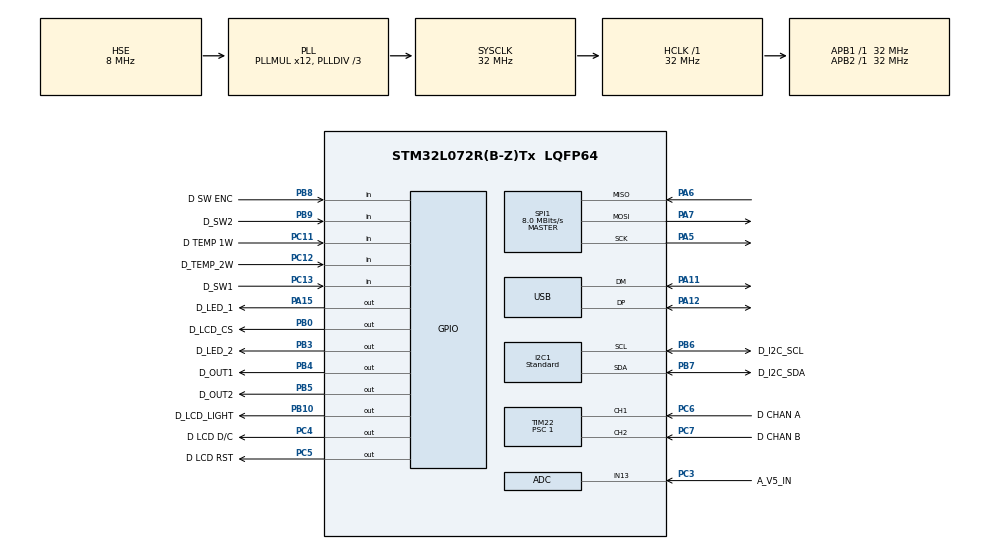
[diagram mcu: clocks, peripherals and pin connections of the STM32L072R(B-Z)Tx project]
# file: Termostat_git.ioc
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ADC.Resolution=ADC_RESOLUTION_8B
ADC.SamplingTime=ADC_SAMPLETIME_1CYCLE_5
I2C1.I2C_Speed_Mode=I2C_Standard
I2C1.Speed=100
I2C1.Timing=0x00707CBB
Mcu.Family=STM32L0
Mcu.Name=STM32L072R(B-Z)Tx
Mcu.Package=LQFP64
NVIC.RTC_IRQn=true\:0\:0\:false\:false\:true\:true
NVIC.TIM21_IRQn=true\:0\:0\:false\:false\:true\:true
NVIC.USB_IRQn=true\:0\:0\:false\:false\:true\:true
PA11.Mode=Device
PA11.Signal=USB_DM
PA12.Mode=Device
PA12.Signal=USB_DP
PA13.Mode=Serial_Wire
PA13.Signal=SYS_SWDIO
PA14.Mode=Serial_Wire
PA14.Signal=SYS_SWCLK
PA15.GPIO_Label=D_LED_1
PA15.Signal=GPIO_Output
PA5.Mode=Full_Duplex_Master
PA5.Signal=SPI1_SCK
PA6.Mode=Full_Duplex_Master
PA6.Signal=SPI1_MISO
PA7.Mode=Full_Duplex_Master
PA7.Signal=SPI1_MOSI
PB0.GPIO_Label=D_LCD_CS
PB0.PinState=GPIO_PIN_SET
PB0.Signal=GPIO_Output
PB10.GPIO_Label=D_LCD_LIGHT
PB10.Signal=GPIO_Output
PB11.GPIO_Label=D SWO
PB11.Signal=EVENTOUT
PB3.GPIO_Label=D_LED_2
PB3.Signal=GPIO_Output
PB4.GPIO_Label=D_OUT1
PB4.Signal=GPIO_Output
PB5.GPIO_Label=D_OUT2
PB5.Signal=GPIO_Output
PB6.GPIO_Label=D_I2C_SCL
PB6.Mode=I2C
PB6.Signal=I2C1_SCL
PB7.GPIO_Label=D_I2C_SDA
PB7.Mode=I2C
PB7.Signal=I2C1_SDA
PB8.GPIO_Label=D SW ENC
PB8.GPIO_PuPd=GPIO_PULLUP
PB8.Signal=GPIO_Input
PB9.GPIO_Label=D_SW2
PB9.GPIO_PuPd=GPIO_PULLUP
PB9.Signal=GPIO_Input
PC11.GPIO_Label=D TEMP 1W
PC11.Signal=GPIO_Input
PC12.GPIO_Label=D_TEMP_2W
PC12.Signal=GPIO_Input
PC13.GPIO_Label=D_SW1
PC13.GPIO_PuPd=GPIO_PULLUP
PC13.Signal=GPIO_Input
PC14-OSC32_IN.Mode=LSE-External-Oscillator
PC14-OSC32_IN.Signal=RCC_OSC32_IN
PC15-OSC32_OUT.Mode=LSE-External-Oscillator
PC15-OSC32_OUT.Signal=RCC_OSC32_OUT
PC3.GPIO_Label=A_V5_IN
PC3.Mode=IN13
PC3.Signal=ADC_IN13
PC4.GPIO_Label=D LCD D/C
PC4.Signal=GPIO_Output
PC5.GPIO_Label=D LCD RST
PC5.Signal=GPIO_Output
PC6.GPIO_Label=D CHAN A
PC6.GPIO_PuPd=GPIO_PULLUP
PC6.Signal=S_TIM22_CH1
PC7.GPIO_Label=D CHAN B
PC7.GPIO_PuPd=GPIO_PULLUP
PC7.Signal=S_TIM22_CH2
PH0-OSC_IN.Mode=HSE-External-Oscillator
PH0-OSC_IN.Signal=RCC_OSC_IN
PH1-OSC_OUT.Mode=HSE-External-Oscillator
PH1-OSC_OUT.Signal=RCC_OSC_OUT
ProjectManager.HeapSize=0x200
ProjectManager.StackSize=0x400
ProjectManager.TargetToolchain=SW4STM32
RCC.AHBFreq_Value=32000000
RCC.APB1Freq_Value=32000000
RCC.APB1TimFreq_Value=32000000
RCC.APB2Freq_Value=32000000
RCC.APB2TimFreq_Value=32000000
RCC.HCLKFreq_Value=32000000
RCC.HSE_VALUE=8000000
RCC.HSI16_VALUE=16000000
RCC.HSI48_VALUE=48000000
RCC.HSI_VALUE=16000000
RCC.MSIClockRange=RCC_MSIRANGE_2
RCC.MSI_VALUE=262144
RCC.PLLDIV=RCC_PLLDIV_3
RCC.PLLMUL=RCC_PLLMUL_12
RCC.RTCClockSelectionVirtual=RCC_RTCCLKSOURCE_LSE
RCC.SYSCLKFreq_VALUE=32000000
RCC.SYSCLKSource=RCC_SYSCLKSOURCE_PLLCLK
RCC.VCOOutputFreq_Value=96000000
RTC.Date=6
RTC.WakeUpCounter-WakeUp=0x2616
RTC.Year=18
SH.S_TIM22_CH1.0=TIM22_CH1,Encoder_Interface
SH.S_TIM22_CH2.0=TIM22_CH2,Encoder_Interface
SPI1.BaudRatePrescaler=SPI_BAUDRATEPRESCALER_4
SPI1.CLKPhase=SPI_PHASE_1EDGE
SPI1.CLKPolarity=SPI_POLARITY_LOW
SPI1.CalculateBaudRate=8.0 MBits/s
SPI1.Direction=SPI_DIRECTION_2LINES
SPI1.Mode=SPI_MODE_MASTER
SPI1.VirtualType=VM_MASTER
TIM21.ClockDivision=TIM_CLOCKDIVISION_DIV1
TIM21.Period=0x0FFFF
TIM21.Prescaler=32
TIM22.CounterMode=TIM_COUNTERMODE_UP
TIM22.EncoderMode=TIM_ENCODERMODE_TI1
TIM22.IC1Polarity=TIM_ICPOLARITY_FALLING
TIM22.IC1Prescaler=TIM_ICPSC_DIV2
TIM22.IC2Polarity=TIM_ICPOLARITY_RISING
TIM22.IC2Prescaler=TIM_ICPSC_DIV2
TIM22.Period=0xFF
TIM22.Prescaler=1
USB_DEVICE.CLASS_NAME_FS=CDC
USB_DEVICE.USBD_HandleTypeDef=hUsbDeviceFS
USB_DEVICE.VirtualMode=Cdc
USB_DEVICE.VirtualModeFS=Cdc_FS
VP_RTC_VS_RTC_Activate.Mode=RTC_Enabled
VP_RTC_VS_RTC_Calendar.Mode=RTC_Calendar
VP_RTC_VS_RTC_WakeUp_intern.Mode=WakeUp
VP_TIM21_VS_ClockSourceINT.Mode=Internal
VP_USB_DEVICE_VS_USB_DEVICE_CDC_FS.Mode=CDC_FS
board=Termostat_git

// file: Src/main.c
/**
 ******************************************************************************
 * File Name          : main.c
 * Description        : Main program body
 ******************************************************************************
 * This notice applies to any and all portions of this file
 * that are not between comment pairs USER CODE BEGIN and
 * USER CODE END. Other portions of this file, whether
 * inserted by the user or by software development tools
 * are owned by their respective copyright owners.
 *
 * Copyright (c) 2018 STMicroelectronics International N.V.
 * All rights reserved.
 *
 * Redistribution and use in source and binary forms, with or without
 * modification, are permitted, provided that the following conditions are met:
 *
 * 1. Redistribution of source code must retain the above copyright notice,
 *    this list of conditions and the following disclaimer.
 * 2. Redistributions in binary form must reproduce the above copyright notice,
 *    this list of conditions and the following disclaimer in the documentation
 *    and/or other materials provided with the distribution.
 * 3. Neither the name of STMicroelectronics nor the names of other
 *    contributors to this software may be used to endorse or promote products
 *    derived from this software without specific written permission.
 * 4. This software, including modifications and/or derivative works of this
 *    software, must execute solely and exclusively on microcontroller or
 *    microprocessor devices manufactured by or for STMicroelectronics.
 * 5. Redistribution and use of this software other than as permitted under
 *    this license is void and will automatically terminate your rights under
 *    this license.
 *
 * THIS SOFTWARE IS PROVIDED BY STMICROELECTRONICS AND CONTRIBUTORS "AS IS"
 * AND ANY EXPRESS, IMPLIED OR STATUTORY WARRANTIES, INCLUDING, BUT NOT
 * LIMITED TO, THE IMPLIED WARRANTIES OF MERCHANTABILITY, FITNESS FOR A
 * PARTICULAR PURPOSE AND NON-INFRINGEMENT OF THIRD PARTY INTELLECTUAL PROPERTY
 * RIGHTS ARE DISCLAIMED TO THE FULLEST EXTENT PERMITTED BY LAW. IN NO EVENT
 * SHALL STMICROELECTRONICS OR CONTRIBUTORS BE LIABLE FOR ANY DIRECT, INDIRECT,
 * INCIDENTAL, SPECIAL, EXEMPLARY, OR CONSEQUENTIAL DAMAGES (INCLUDING, BUT NOT
 * LIMITED TO, PROCUREMENT OF SUBSTITUTE GOODS OR SERVICES; LOSS OF USE, DATA,
 * OR PROFITS; OR BUSINESS INTERRUPTION) HOWEVER CAUSED AND ON ANY THEORY OF
 * LIABILITY, WHETHER IN CONTRACT, STRICT LIABILITY, OR TORT (INCLUDING
 * NEGLIGENCE OR OTHERWISE) ARISING IN ANY WAY OUT OF THE USE OF THIS SOFTWARE,
 * EVEN IF ADVISED OF THE POSSIBILITY OF SUCH DAMAGE.
 *
 ******************************************************************************
 */
/**
 * Upravena verze pro termostat a logovani USB
 * date : 28.9.2020
 * Testovani v provozu - 28.9.2020
 */

/* Includes ------------------------------------------------------------------ */

#include "main.h"
#include "stm32l0xx_hal.h"
#include "adc.h"
#include "i2c.h"
#include "rtc.h"
#include "spi.h"
#include "tim.h"
#include "usb_device.h"
#include "gpio.h"

/* USER CODE BEGIN Includes */

/**popis
 * 28.9.2020 - testovani Logovani
 *
 * Ukoly:
 * pridej MENU, s nastavenim casu a teplot. funkcni
 * nastveni - 115200-8-N-1, /dev/ttyACM0 // pouzivam "cutecom"
 */
#include "global.h"
#include "pinmap.h"
#include "peripherals.h"
#include "BME280.h"
#include "lcd_12864.h"
#include "ds18b20.h"
#include <stdio.h>
#include "usbd_cdc_if.h"
#include "rtc_api.h"
#include "Time.h"
#include "menu.h"
#include "log.h"
#include "sleep.h"
#include "waiter.h"
#include "heater.h"
#include "usb_api.h"

/* USER CODE END Includes */

/* USER CODE BEGIN PV */
/* Private variables ---------------------------------------------------------*/
static States_loop current_state;
static Screen show;
Flags_main flags;
uint32_t citac=0;
int8_t en_count=0;
int32_t temperature=-20000;
int32_t humid = -5;
uint32_t presure = 0;

// Temp_seting and driving
int32_t temperature_set=2000;
// END Temp_seting and driving

Buttons pushed_button; //cleared each main cycle

/* USER CODE END PV */

void SystemClock_Config(void);

/* USER CODE BEGIN PFP */
/* Private function prototypes -----------------------------------------------*/

/* USER CODE END PFP */

int main(void)
{

	/* MCU Configuration----------------------------------------------------------*/

	/* Reset of all peripherals, Initializes the Flash interface and the Systick. */
	HAL_Init();

	/* USER CODE BEGIN Init */
	char buffer_s [32];
//char buffer_usb [32];

	uint16_t T_led=20;
	actual_HALtick.tick=0, past_HALtick.tick=0 ;
	uint32_t InputVoltage=0;
	uint8_t en_count_last=0;
	int16_t count1;
	uint16_t sirka=0;
	char aShowTime[50] = {0};

	//debug
	Bool beta_part=0, show_time=TRUE;
	//debug

	//timeouts
	Compare_t backlite_compare, measure_compare, led_compare, time_compare, button_compare, heating_compare, logging_compare, show_timeout, heating_instant_timeout;
	backlite_compare.overflow=FALSE , measure_compare.overflow=FALSE, led_compare.overflow=FALSE, time_compare.overflow=FALSE, button_compare.overflow=FALSE, heating_compare.overflow=FALSE, logging_compare.overflow=FALSE, show_timeout.overflow=FALSE, heating_instant_timeout.overflow=FALSE;
	actual_HALtick.overflow = FALSE;
	past_HALtick.overflow = FALSE;
	/* USER CODE BEGIN Init */

	/* USER CODE END Init */

	/* Configure the system clock */
	SystemClock_Config();

	/* Initialize all configured peripherals */
	MX_GPIO_Init();
	MX_SPI1_Init();
	MX_TIM22_Init();
	MX_TIM21_Init();
	MX_I2C1_Init();
	MX_USB_DEVICE_Init();
	MX_RTC_Init();
	MX_ADC_Init();

	/* USER CODE BEGIN 2 */
	backliteOn();
	fill_comparer(BACKLITE_TIMEOUT, &backlite_compare);

	lcd12864_init(&hspi1);
	line(0,60,110,60,1);
	lcd_setCharPos(0,0);
	lcd_printString("Initialization unit\r");
	lcd_printString("termostat_git\r");
	snprintf(buffer_s, 11, "SW v 0.%d", SW_VERSION);
	lcd_printString(buffer_s);

	HAL_TIM_Encoder_Start(&htim22,TIM_CHANNEL_1);

	htim22.Instance->EGR = 1;           // Generate an update event
	htim22.Instance->CR1 = 1;           // Enable the counter

	BME280_init(&hi2c1,DEFAULT_SLAVE_ADDRESS); // initialization of temp/humid sensor BOSH

	HAL_Delay(1700);
	lcd_clear();

	//settings variables to default values
	flags.heating_up = FALSE;

	current_state = MEASURING;
	show=desktop;
	flags.log_enable = TRUE; // logging of the actions

hrej();
	//init timers
	fill_comparer(LED_PERIODE,&led_compare);
	fill_comparer(MEASURE_PERIODE,&measure_compare);
	fill_comparer(TIME_PERIODE,&time_compare);
	fill_comparer(BUT_DELAY, &button_compare);
	fill_comparer(10, &heating_compare); // check it immediately
	fill_comparer_seconds(30, &logging_compare); // chci zapisovat hned po zmereni hodnot / ZAPNUTI
	show_timeout.tick = 0xfffffffe;
	heating_instant_timeout.tick = 0;

	/*##- 4- Start the conversion process #######################################*/
	if (HAL_ADC_Start(&hadc) != HAL_OK)
	{
		/* Start Conversation Error */
		Error_Handler();
	}

	/* USER CODE END 2 */

	/* Infinite loop */
	/* USER CODE BEGIN WHILE */
	for (;;)
	{
		switch (current_state){
		case SLEEP:
		{//			neni potreba spanku
			Go_To_Sleep(&hrtc);
			current_state = MEASURING;
			show_time=TRUE;
			break;
		}
		case IDLE:
		{
			break;
		}
		case MEASURING:
		{

			temperature=BME280_getTemperature();
			humid=BME280_getHumidity();
		//	presure=BME280_getPressure();
			current_state = IDLE;
#ifdef DEBUG_TERMOSTAT	//debug
			current_state = VOLTAGE;
#endif
			flags.new_data_to_show=TRUE;

			fill_comparer(MEASURE_PERIODE, &measure_compare);
			break;
		}
		case VOLTAGE:

		{

			/*##- 5- Wait for the end of conversion #####################################*/
			/*  Before starting a new conversion, you need to check the current state of
  			         the peripheral; if it�s busy you need to wait for the end of current
  			         conversion before starting a new one.
  			         For simplicity reasons, this example is just waiting till the end of the
  			         conversion, but application may perform other tasks while conversion
  			         operation is ongoing. */
			HAL_ADC_PollForConversion(&hadc, 10);

			/* Check if the continous conversion of regular channel is finished */
			if ((HAL_ADC_GetState(&hadc) & HAL_ADC_STATE_REG_EOC) == HAL_ADC_STATE_REG_EOC)
			{
				/*##-6- Get the converted value of regular channel  ########################*/
				InputVoltage = HAL_ADC_GetValue(&hadc);
			}

			flags.new_data_to_show=TRUE;
			current_state = IDLE;

			break;
		}
		/* there is a process, of heating with the heater.
		 *The heater is turned on by OUT1, when the temperature is below temperature_set-Hysteresis
		 */
		case HEATING:
		{
			if (flags.heating_instant){
				//if(heating_instant_timeout.tick > actual_HALtick)
					if(!comparer_timeout(&heating_instant_timeout))
					turnOnHeater(temperature);
				else
					flags.heating_instant=FALSE;
			}
			else{
				if (flags.regulation_temp & (temperature < temperature_set))
				{
					if (flags.heating_up) // if the heater is turned on, keep continue with heating.
					{
						turnOnHeater(temperature);
					}
					else
					{	// when the heater is not active, wait until the temperature fall below threshold-Hysteresis
						if (temperature < (temperature_set-HEATING_HYSTERESIS))
						{
							flags.heating_up = TRUE;
							turnOnHeater(temperature);
						}
					}
				}// end-if (flags.regulation_temp&(temperature < temperature_set))

				else // vypni topeni
				{

					turnOffHeater();
					flags.heating_up = FALSE;

				}
			}
			fill_comparer(HEATING_PERIODE, &heating_compare);
			current_state = IDLE;
			break;
		}

		case LOG:
		{
			if (flags.log_enable)
			{
				Log_Temperature(&hrtc, temperature, humid);

			}
			fill_comparer_seconds(LOG_PERIODE, &logging_compare);
			sirka = Log_memory_fullness()*lcd_width/LOG_DATA_LENGTH;
			current_state = IDLE;
			break;
		}
		default:
		{
			break;
		}

		}// end of switch CURRENT STATE

		/* **** SCREEN **** */
		switch (show){

		case blind:
		{
			lcd_clear();
			show = idle;
			break;
		}
		case desktop:
		{// showing main screen - temperatures and Hum
			if (flags.new_data_to_show==TRUE){
				// BME280 sensor
				lcd_setCharPos(1,3);
				char_magnitude(2);
				snprintf(buffer_s, 12, "%3ld.%02d C",temperature/100,abs(temperature%100));
				lcd_printString(buffer_s);

				lcd_setCharPos(4,3);
				snprintf(buffer_s, 14, "%3ld.%02ld %%",(humid / 1024), humid%1024*100/1024);
				lcd_printString(buffer_s);

				// Marking - heating is active/not active
				lcd_setCharPos(1,19);
				if(!flags.regulation_temp)
					lcd_printString("-");
				else _putc(0x07f);

				lcd_setCharPos(4,19);
				if(!flags.heating_instant)
					lcd_printString(" ");
				else _putc(0x07f);

				// END Marking - heating is active/not active

				char_magnitude(1);

				lcd_setCharPos(3,2);
				snprintf(buffer_s, 12, "set %3ld.%02d C",temperature_set/100,abs(temperature_set%100));
				lcd_printString(buffer_s);

				/*	lcd_setCharPos(6,4);
  					snprintf(buffer_s, 18, "Pres %d.%02d hp",presure/100,presure%100);
  					lcd_printString(buffer_s);
				 */

#ifdef DEBUG_TERMOSTAT	//debug
				lcd_setCharPos(6,0);
				snprintf(buffer_s, 13, "%lu-> %lu.%02luV",InputVoltage,InputVoltage*66/2550,(InputVoltage*66%2550*100/255)/10 );// get two numbers for voltage
				lcd_printString(buffer_s);
#endif
				flags.new_data_to_show=FALSE; // the data was showed.

/* Ukazka plnosti pameti na logovani */
				// cara bude na spodni strane a bude tri tecky siroka
				{
					line(0,62,sirka,62,1);
	/*				line(0,63,sirka,63,1);
					line(0,64,sirka,64,1);
*/
				}

			}// end if - new data to show
			if (show_time){

				RTC_DateShow(&hrtc,aShowTime);
				lcd_setCharPos(0,11);
				lcd_printString(aShowTime);
				RTC_TimeShow(&hrtc,aShowTime);
				//lcd_setCharPos(0,12);
				lcd_setCharPos(0,1);
				lcd_printString(aShowTime);

#ifdef DEBUG_TERMOSTAT	//debug
				lcd_setCharPos(3,20);
				if (beta_part){
					lcd_printString("T");
					beta_part = FALSE;
				}
				else {
					lcd_printString("-");
					beta_part = TRUE;
				}

		/*		lcd_setCharPos(7,9);
				snprintf(buffer_s, 13, "sys%8ld;",actual_HALtick.tick);
				lcd_printString(buffer_s);

				lcd_setCharPos(6,12);
				snprintf(buffer_s, 10, "%8ld;",backlite_compare.tick);
				lcd_printString(buffer_s);
		 */
				//debug
#endif
				// end of the time part - new timer set.
				fill_comparer(TIME_PERIODE, &time_compare);
				show_time = FALSE;
			}
			break;
		}
		case idle:
		{
			break;
		}

		case menu:
		{
			display_menu(ActualMenu);
			break;
		}

		case debug:
		{
			lcd_clear();
			RTC_DateShow(&hrtc,aShowTime);
			lcd_setCharPos(1,10);
			lcd_printString(aShowTime);

			RTC_TimeShow(&hrtc,aShowTime);
			lcd_setCharPos(1,0);
			lcd_printString(aShowTime);

			//CITAC
			uint32_t sekundy = (SlaveCounter << 16)/1000000;

			lcd_setCharPos(4,1);
			snprintf(buffer_s, 20, "%03lu:%02lu", sekundy/60,sekundy%60 );
			lcd_printString(buffer_s);

			// reading the actual number from encoder

			count1=htim22.Instance->CNT;
			lcd_setCharPos(5,0);
			snprintf(buffer_s, 25, "s %i \r t %i ms", (count1+T_led)*MAIN_LOOP*2, MAIN_LOOP*2*T_led);
			lcd_printString(buffer_s);

			lcd_setCharPos(7,0);
			snprintf(buffer_s, 9, "EN%03i", (count1));
			lcd_printString(buffer_s);

			snprintf(buffer_s, 12, "; enc%03i", (en_count));
			lcd_printString(buffer_s);

			HAL_Delay(500);
			break;
		}
		default:{
			lcd_setCharPos(1,1);
			lcd_printString("ERROR display -default" );
		}
		}// switch show
		/**
		 * 2.1.2018 -
  	1) objevil jsem chybu pri cteni time elapsing. Mam to spatne. Muze se stat, ze mi timer bude blbe fungovat, kdyz budu pricitat testne pred pretecenim promene a vykonavani se bude konat mozna az po preteceni timeru...

  	2) Cteni tlacitek by se melo provadet pokazde a po stisknuti by se melo dalsi cteni oddalit na delsi cas - 200-300 ms?
		 *
		 */

		/* *------ TIME ELAPSING CHECK -------* */
		get_actual_HAL_tick(); // put the actual number of ms counter to variable actual_HALtic.tick

		if(comparer_timeout(&logging_compare)) //log data after defined period.
		{
			current_state = LOG;
		}
		if(comparer_timeout(&heating_compare)) //measure after defined period.
		{
			current_state = HEATING;
		}
		if (comparer_timeout(&measure_compare))  //measure after defined period.
		{
			current_state = MEASURING;
		}
		if(comparer_timeout(&time_compare)) //change time after defined period.
		{
			show_time = TRUE;
		}

		if(comparer_timeout(&show_timeout)) //change time after defined period.
		{
			show = desktop;
		}
// MENU TIMEOUT
		if (TRUE==flags.menu_running){ // je to takhle slozite , protoze jsem neprisel na jiny efektivni zpusob, jak smazat displej, po zkonceni menu
			if (!menu_timout()) {
				if (!menu_action()){ // exit from menu condition
					flags.menu_running=0;
					lcd_clear();
					show = desktop;
				}
				else
					show = menu;
			} // if menu - TIMEOUT
			else {
				flags.menu_running=0;
				lcd_clear();
				show = desktop;
			}
			fill_comparer(BACKLITE_TIMEOUT, &backlite_compare); // Pro udrzeni rozsviceneho displeje v menu! NETESTOVANO.
		}
		if (flags.temp_new_set){
			flags.temp_new_set = FALSE;
			show = desktop;
		}
	if (comparer_timeout(&backlite_compare))
		{
			backliteOff();
		}

		/* *---- READ KEYBOARD -----* */

		pushed_button = BUT_NONE;
		if(comparer_timeout(&button_compare)) //every delay time
		{
			pushed_button = checkButtons();
			fill_comparer(BUT_DELAY, &button_compare);

			// reading the actual number from encoder
			uint32_t actual_counter_CNT = htim22.Instance->CNT;
			if (en_count_last != actual_counter_CNT){
				en_count+= actual_counter_CNT-en_count_last;
				en_count_last=actual_counter_CNT;
				flags.enc_changed = TRUE;
				if (pushed_button == BUT_NONE) // enabling light/ increase time constants.
					pushed_button = ENCODER;
			}
		}
		if(pushed_button != BUT_NONE) // any button pushed?
		{
			backliteOn();
			fill_comparer(BUT_DELAY*200, &button_compare); // 200x - zpozdeni cteni pri stisknuti
			fill_comparer(BACKLITE_TIMEOUT, &backlite_compare);
			fill_comparer(SHOW_TIMEOUT, &show_timeout);
		}

		// -- BUTTON PROCCESS
		switch (pushed_button){
		case BUT_1:
		{// activate heater
			if (!flags.regulation_temp){
				flags.regulation_temp=TRUE;
				flags.heating_up = TRUE;

			}
			else {
				flags.regulation_temp=FALSE;
			}
			// new data to show - heating icon.
			flags.new_data_to_show=TRUE;
			//	show = debug;

			break;
		}
		case BUT_2:
		{// Immediattely heating for 15 minutes

			flags.heating_instant = TRUE;
			fill_comparer_seconds(HEATING_INSTANT, &heating_instant_timeout);
			break;
		}
		case BUT_ENC:
		{
			flags.enc_changed = TRUE; // jenom pomoc aby se zobrazila sipka vzdy...
			if (0 == flags.menu_running){
				flags.menu_activate=1;
				en_count = 0;
				en_count_last=0;
				htim22.Instance->CNT= 0;
				activation_memu();
				lcd_clear();

				// if this command means go to menu, That there shouldn't be no more pressed.
				pushed_button = BUT_NONE;
			}
			break;
		}
		case ENCODER:
		{
			break;
		}
		default:
		{

			break;
		}

		} // switch pushed button

		HAL_Delay(MAIN_LOOP);

		/* USER CODE END WHILE */

	}

}

/** System Clock Configuration
 */
void SystemClock_Config(void)
{

	RCC_OscInitTypeDef RCC_OscInitStruct;
	RCC_ClkInitTypeDef RCC_ClkInitStruct;
	RCC_PeriphCLKInitTypeDef PeriphClkInit;

	/**Configure the main internal regulator output voltage
	 */
	__HAL_PWR_VOLTAGESCALING_CONFIG(PWR_REGULATOR_VOLTAGE_SCALE1);

	/**Configure LSE Drive Capability
	 */
	__HAL_RCC_LSEDRIVE_CONFIG(RCC_LSEDRIVE_LOW);

	/**Initializes the CPU, AHB and APB busses clocks
	 */
	RCC_OscInitStruct.OscillatorType = RCC_OSCILLATORTYPE_HSE|RCC_OSCILLATORTYPE_LSE;
	RCC_OscInitStruct.HSEState = RCC_HSE_ON;
	RCC_OscInitStruct.LSEState = RCC_LSE_ON;
	RCC_OscInitStruct.PLL.PLLState = RCC_PLL_ON;
	RCC_OscInitStruct.PLL.PLLSource = RCC_PLLSOURCE_HSE;
	RCC_OscInitStruct.PLL.PLLMUL = RCC_PLLMUL_12;
	RCC_OscInitStruct.PLL.PLLDIV = RCC_PLLDIV_3;
	if (HAL_RCC_OscConfig(&RCC_OscInitStruct) != HAL_OK)
	{
		_Error_Handler(__FILE__, __LINE__);
	}

	/**Initializes the CPU, AHB and APB busses clocks
	 */
	RCC_ClkInitStruct.ClockType = RCC_CLOCKTYPE_HCLK|RCC_CLOCKTYPE_SYSCLK
			|RCC_CLOCKTYPE_PCLK1|RCC_CLOCKTYPE_PCLK2;
	RCC_ClkInitStruct.SYSCLKSource = RCC_SYSCLKSOURCE_PLLCLK;
	RCC_ClkInitStruct.AHBCLKDivider = RCC_SYSCLK_DIV1;
	RCC_ClkInitStruct.APB1CLKDivider = RCC_HCLK_DIV1;
	RCC_ClkInitStruct.APB2CLKDivider = RCC_HCLK_DIV1;

	if (HAL_RCC_ClockConfig(&RCC_ClkInitStruct, FLASH_LATENCY_1) != HAL_OK)
	{
		_Error_Handler(__FILE__, __LINE__);
	}

	PeriphClkInit.PeriphClockSelection = RCC_PERIPHCLK_I2C1|RCC_PERIPHCLK_RTC
			|RCC_PERIPHCLK_USB;
	PeriphClkInit.I2c1ClockSelection = RCC_I2C1CLKSOURCE_PCLK1;
	PeriphClkInit.RTCClockSelection = RCC_RTCCLKSOURCE_LSE;
	PeriphClkInit.UsbClockSelection = RCC_USBCLKSOURCE_PLL;
	if (HAL_RCCEx_PeriphCLKConfig(&PeriphClkInit) != HAL_OK)
	{
		_Error_Handler(__FILE__, __LINE__);
	}

	/**Configure the Systick interrupt time
	 */
	HAL_SYSTICK_Config(HAL_RCC_GetHCLKFreq()/1000);

	/**Configure the Systick
	 */
	HAL_SYSTICK_CLKSourceConfig(SYSTICK_CLKSOURCE_HCLK);

	/* SysTick_IRQn interrupt configuration */
	HAL_NVIC_SetPriority(SysTick_IRQn, 0, 0);
}

void _Error_Handler(char * file, int line)
{
	/* USER CODE BEGIN Error_Handler_Debug */
	/* User can add his own implementation to report the HAL error return state */
	while(1)
	{
		togleLED(LED2);
		HAL_Delay(500);
	}
	/* USER CODE END Error_Handler_Debug */
}

/************************ (C) COPYRIGHT STMicroelectronics *****END OF FILE****/
